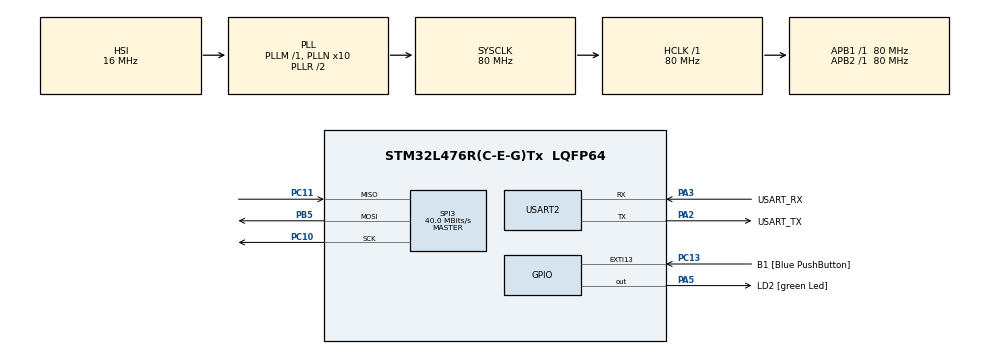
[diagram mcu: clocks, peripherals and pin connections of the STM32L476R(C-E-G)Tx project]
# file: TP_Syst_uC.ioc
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Mcu.Family=STM32L4
Mcu.Name=STM32L476R(C-E-G)Tx
Mcu.Package=LQFP64
NVIC.PriorityGroup=NVIC_PRIORITYGROUP_4
PA13\ (JTMS-SWDIO).GPIO_Label=TMS
PA13\ (JTMS-SWDIO).Mode=Serial_Wire
PA13\ (JTMS-SWDIO).Signal=SYS_JTMS-SWDIO
PA14\ (JTCK-SWCLK).GPIO_Label=TCK
PA14\ (JTCK-SWCLK).Mode=Serial_Wire
PA14\ (JTCK-SWCLK).Signal=SYS_JTCK-SWCLK
PA2.GPIO_Label=USART_TX
PA2.GPIO_Mode=GPIO_MODE_AF_PP
PA2.GPIO_PuPd=GPIO_NOPULL
PA2.GPIO_Speed=GPIO_SPEED_FREQ_VERY_HIGH
PA2.Mode=Asynchronous
PA2.Signal=USART2_TX
PA3.GPIO_Label=USART_RX
PA3.GPIO_Mode=GPIO_MODE_AF_PP
PA3.GPIO_PuPd=GPIO_NOPULL
PA3.GPIO_Speed=GPIO_SPEED_FREQ_VERY_HIGH
PA3.Mode=Asynchronous
PA3.Signal=USART2_RX
PA5.GPIO_Label=LD2 [green Led]
PA5.GPIO_ModeDefaultOutputPP=GPIO_MODE_OUTPUT_PP
PA5.GPIO_PuPd=GPIO_NOPULL
PA5.GPIO_Speed=GPIO_SPEED_FREQ_LOW
PA5.Signal=GPIO_Output
PB3\ (JTDO-TRACESWO).GPIO_Label=SWO
PB3\ (JTDO-TRACESWO).Signal=SYS_JTDO-SWO
PB5.Mode=Full_Duplex_Master
PB5.Signal=SPI3_MOSI
PC10.Mode=Full_Duplex_Master
PC10.Signal=SPI3_SCK
PC11.Mode=Full_Duplex_Master
PC11.Signal=SPI3_MISO
PC13.GPIO_Label=B1 [Blue PushButton]
PC13.GPIO_ModeDefaultEXTI=GPIO_MODE_IT_FALLING
PC13.GPIO_PuPd=GPIO_NOPULL
PC13.Signal=GPXTI13
PC14-OSC32_IN\ (PC14).Mode=LSE-External-Oscillator
PC14-OSC32_IN\ (PC14).Signal=RCC_OSC32_IN
PC15-OSC32_OUT\ (PC15).Mode=LSE-External-Oscillator
PC15-OSC32_OUT\ (PC15).Signal=RCC_OSC32_OUT
PH0-OSC_IN\ (PH0).Signal=RCC_OSC_IN
PH1-OSC_OUT\ (PH1).Signal=RCC_OSC_OUT
ProjectManager.HeapSize=0x200
ProjectManager.StackSize=0x400
ProjectManager.TargetToolchain=STM32CubeIDE
RCC.ADCFreq_Value=64000000
RCC.AHBFreq_Value=80000000
RCC.APB1Freq_Value=80000000
RCC.APB1TimFreq_Value=80000000
RCC.APB2Freq_Value=80000000
RCC.APB2TimFreq_Value=80000000
RCC.CortexFreq_Value=80000000
RCC.HCLKFreq_Value=80000000
RCC.HSE_VALUE=8000000
RCC.HSI_VALUE=16000000
RCC.MSI_VALUE=4000000
RCC.PLLN=10
RCC.PLLSourceVirtual=RCC_PLLSOURCE_HSI
RCC.PREFETCH_ENABLE=1
RCC.SYSCLKFreq_VALUE=80000000
RCC.SYSCLKSource=RCC_SYSCLKSOURCE_PLLCLK
RCC.USBFreq_Value=64000000
RCC.VCOOutputFreq_Value=160000000
SPI3.CalculateBaudRate=40.0 MBits/s
SPI3.DataSize=SPI_DATASIZE_8BIT
SPI3.Direction=SPI_DIRECTION_2LINES
SPI3.Mode=SPI_MODE_MASTER
SPI3.VirtualType=VM_MASTER
USART2.VirtualMode-Asynchronous=VM_ASYNC
board=NUCLEO-L476RG

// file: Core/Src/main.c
/* USER CODE BEGIN Header */
/**
 ******************************************************************************
 * @file           : main.c
 * @brief          : Main program body
 ******************************************************************************
 * @attention
 *
 * Copyright (c) 2025 STMicroelectronics.
 * All rights reserved.
 *
 * This software is licensed under terms that can be found in the LICENSE file
 * in the root directory of this software component.
 * If no LICENSE file comes with this software, it is provided AS-IS.
 *
 ******************************************************************************
 */
/* USER CODE END Header */
#include "main.h"
#include "spi.h"
#include "usart.h"
#include "gpio.h"

/* USER CODE BEGIN Includes */
#include <stdio.h>
/* USER CODE END Includes */

void SystemClock_Config(void);

/* USER CODE BEGIN 0 */
int __io_putchar(int chr)
{
	HAL_UART_Transmit(&huart2, (uint8_t *)&chr, 1, HAL_MAX_DELAY);
	return chr;
}

void SPI3_Write(uint8_t data)
{
	HAL_GPIO_WritePin(GPIOB, GPIO_PIN_6, GPIO_PIN_RESET); // CS LOW
	HAL_SPI_Transmit(&hspi3, &data, 1, HAL_MAX_DELAY);
	HAL_GPIO_WritePin(GPIOB, GPIO_PIN_6, GPIO_PIN_SET); // CS HIGH
}

uint8_t SPI3_Read()
{
	uint8_t receivedData = 0;
	HAL_GPIO_WritePin(GPIOB, GPIO_PIN_6, GPIO_PIN_RESET); // CS LOW
	HAL_SPI_Receive(&hspi3, &receivedData, 1, HAL_MAX_DELAY);
	HAL_GPIO_WritePin(GPIOB, GPIO_PIN_6, GPIO_PIN_SET); // CS HIGH
	return receivedData;
}

/* USER CODE END 0 */

int main(void)
{

	/* MCU Configuration--------------------------------------------------------*/

	/* Reset of all peripherals, Initializes the Flash interface and the Systick. */
	HAL_Init();

	/* Configure the system clock */
	SystemClock_Config();

	/* Initialize all configured peripherals */
	MX_GPIO_Init();
	MX_USART2_UART_Init();
	MX_SPI3_Init();

	/* Infinite loop */
	/* USER CODE BEGIN WHILE */
	while (1)
	{
		//HAL_UART_Transmit(&huart2, "Hello world\r\n", 13, 100);
		printf("Hello world\r\n");
		HAL_Delay(1000);

		HAL_GPIO_TogglePin(GPIOA, GPIO_PIN_5);
		HAL_Delay(1000);

		uint8_t tData = 0xFF;
		uint8_t rData = 0x00;

		SPI3_Write(tData);
		HAL_Delay(1000);
		rData = SPI3_Read();

		printf("%x", rData);

		/* USER CODE END WHILE */

	}
}

void SystemClock_Config(void)
{
	RCC_OscInitTypeDef RCC_OscInitStruct = {0};
	RCC_ClkInitTypeDef RCC_ClkInitStruct = {0};

	/** Configure the main internal regulator output voltage
	 */
	if (HAL_PWREx_ControlVoltageScaling(PWR_REGULATOR_VOLTAGE_SCALE1) != HAL_OK)
	{
		Error_Handler();
	}

	/** Initializes the RCC Oscillators according to the specified parameters
	 * in the RCC_OscInitTypeDef structure.
	 */
	RCC_OscInitStruct.OscillatorType = RCC_OSCILLATORTYPE_HSI;
	RCC_OscInitStruct.HSIState = RCC_HSI_ON;
	RCC_OscInitStruct.HSICalibrationValue = RCC_HSICALIBRATION_DEFAULT;
	RCC_OscInitStruct.PLL.PLLState = RCC_PLL_ON;
	RCC_OscInitStruct.PLL.PLLSource = RCC_PLLSOURCE_HSI;
	RCC_OscInitStruct.PLL.PLLM = 1;
	RCC_OscInitStruct.PLL.PLLN = 10;
	RCC_OscInitStruct.PLL.PLLP = RCC_PLLP_DIV7;
	RCC_OscInitStruct.PLL.PLLQ = RCC_PLLQ_DIV2;
	RCC_OscInitStruct.PLL.PLLR = RCC_PLLR_DIV2;
	if (HAL_RCC_OscConfig(&RCC_OscInitStruct) != HAL_OK)
	{
		Error_Handler();
	}

	/** Initializes the CPU, AHB and APB buses clocks
	 */
	RCC_ClkInitStruct.ClockType = RCC_CLOCKTYPE_HCLK|RCC_CLOCKTYPE_SYSCLK
			|RCC_CLOCKTYPE_PCLK1|RCC_CLOCKTYPE_PCLK2;
	RCC_ClkInitStruct.SYSCLKSource = RCC_SYSCLKSOURCE_PLLCLK;
	RCC_ClkInitStruct.AHBCLKDivider = RCC_SYSCLK_DIV1;
	RCC_ClkInitStruct.APB1CLKDivider = RCC_HCLK_DIV1;
	RCC_ClkInitStruct.APB2CLKDivider = RCC_HCLK_DIV1;

	if (HAL_RCC_ClockConfig(&RCC_ClkInitStruct, FLASH_LATENCY_4) != HAL_OK)
	{
		Error_Handler();
	}
}

void Error_Handler(void)
{
	__disable_irq();
	while (1)
	{
	}
}
